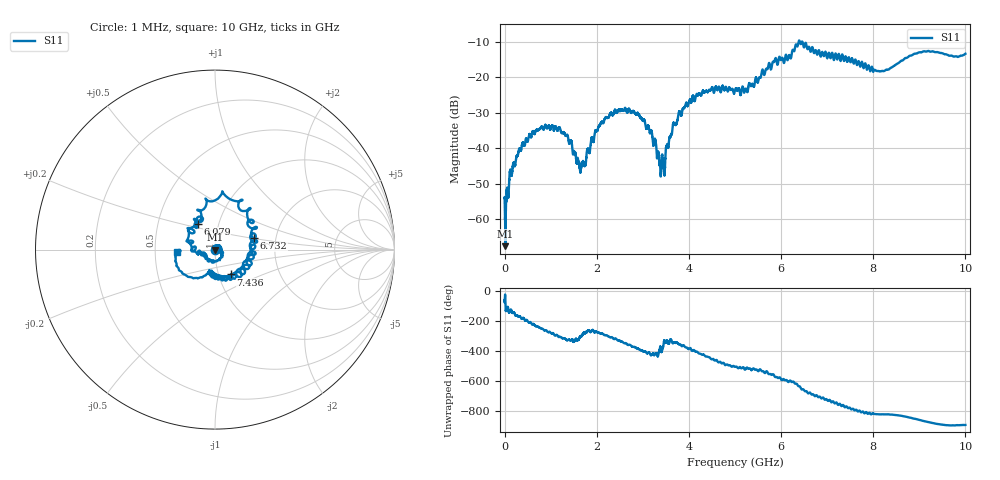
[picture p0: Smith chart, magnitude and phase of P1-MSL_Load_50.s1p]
! 2/19/2018 12:52:16 PM
! E:\STEPPED_EXPERIMENT_2018-02-19\P1-MSL_LOAD_50.S1P
! CHANNEL.1
! TR.MEASUREMENT
! CORRECTED.DATA
# GHZ S RI R 50.0
! FREQ.GHZ  S11RE  S11IM
!; PortSelection: Port_1
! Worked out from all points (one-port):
!   10000 points, 1 MHz to 10 GHz, reference 50 ohm
!   lowest |S11| = -67.5 dB at 19 MHz (marker M1), VSWR 1.00, Z = 50 - j0.042 ohm
!   |S11| at or under -10 dB: start of sweep to 6.381 GHz; 6.406 GHz to 6.454 GHz (47.5 MHz wide, 0.739 % of centre); 6.46 GHz to end of sweep
!   S11 on the Smith chart (normalised r, x): 1 MHz: 1.00, -0.00; 6.079 GHz: 0.79, +0.23; 6.732 GHz: 1.54, +0.21; 7.436 GHz: 1.15, -0.33; 10 GHz: 0.65, -0.02
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0.001  0.000994 -0.00173
0.019  3.75e-05 -0.00042
0.054  -0.00115 -0.00244
0.154  -0.00291 -0.00303
0.505  -0.0118 0.00524
0.917  -0.00131 0.0193
1.251  0.0115 0.0119
1.68  0.00236 0.00532
2.074  0.0049 0.0209
2.501  0.0293 0.0159
3.001  0.019 -0.0163
3.156  0.00836 -0.0143
3.429  0.00649 -0.00285
3.627  0.0143 0.00673
3.751  0.024 0.00575
4.197  0.0346 -0.0436
5.001  -0.0554 -0.0353
5.238  -0.064 -0.0246
5.852  -0.1467 0.0738
6.079  -0.0967 0.1427
6.251  -0.0944 0.2226
6.423  0.081 0.2822
6.732  0.2189 0.0639
7.436  0.0894 -0.1382
7.501  0.0729 -0.1475
8.182  -0.0316 -0.1176
8.751  -0.1065 -0.158
10  -0.2128 -0.0138
